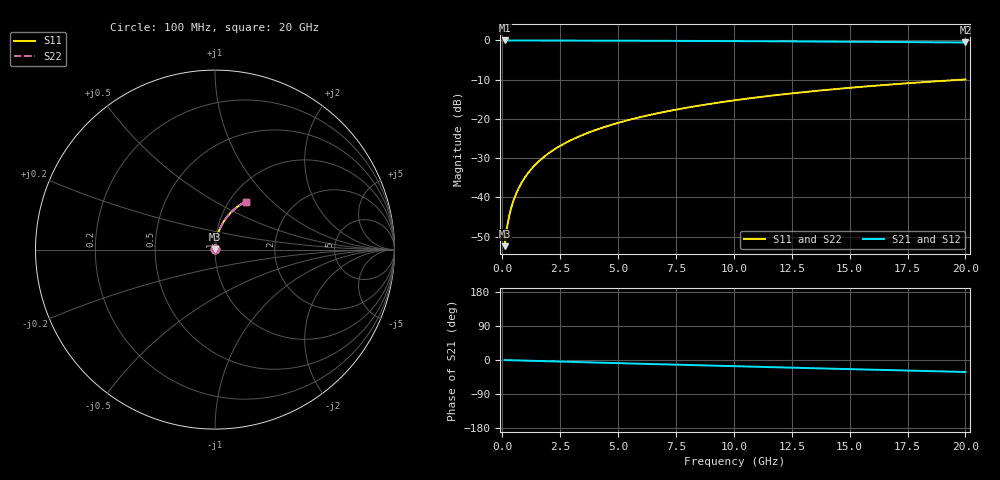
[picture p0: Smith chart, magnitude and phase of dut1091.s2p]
! Touchstone file exported from HFSS 2026.1.0
!  File:  C:/ffzhzh/LocalFiles/Ansys_Project_Files/temp_train_TMRDL_1091_1783161069_22436.aedt
!  Generated:  06:32:29 PM Jul  4, 2026
!  Design:  TMRDL
!  Project:  temp_train_TMRDL_1091_1783161069_22436
! Variables:
!  h_bsmrdl = 2um
!  h_ox = 20um
!  h_rdl = 5um
!  h_sub = 80um
!  h_tmrdl = 5.12um
!  h_tsv = 80um
!  h_via = 3um
!  l_bsmrdl = 300um
!  l_sub = 821.95um
!  l_tmrdl = 421.95um
!  m_sub = 200um
!  pitch = 58.3um
!  r_tsv = 6um
!  s_tmrdl = 10um
!  w_bsmrdl = 18um
!  w_sub = 500um
!  w_tmrdl = 23.65um
!  x_tsv_center1 = 433.775um
!  x_tsv_center2 = 751.775um
!  x_tsv_center3 = 1197.375um
!  x_tsv_center4 = 1515.375um
!  x_tsv_center5 = 1960.975um
!  x_tsv_center6 = 2278.975um
# GHz S MA R 50.000000
! Terminal data exported
! Port[1] = TM_RDL1_1_T1
! Port[2] = TM_RDL1_1_T2
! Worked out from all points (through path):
!   200 points, 100 MHz to 20 GHz, reference 50 ohm
!   highest |S21| = -0.01 dB at 100 MHz (marker M1); lowest = -0.5 dB at 20 GHz (marker M2)
!   group delay of S21, straight-line fit = 4.39 ps
!   lowest |S11| = -52.4 dB at 100 MHz (marker M3), VSWR 1.00, Z = 50.1 + j0.195 ohm
!   |S11| at or under -10 dB: start of sweep to 19.84 GHz
!   |S22| runs from -52.4 to -9.9 dB; largest |S21 - S12| = 3.4e-15
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0.1  0.002395 54.1  0.9986 -0.2  0.9986 -0.2  0.002395 54.1
! Gamma 0 0 0 0
! Port Impedance 50 0 50 0
0.2  0.004091 68.3  0.9985 -0.3  0.9985 -0.3  0.004091 68.3
0.3  0.005844 74.1  0.9984 -0.5  0.9984 -0.5  0.005844 74.1
0.4  0.007616 77.2  0.9984 -0.7  0.9984 -0.7  0.007616 77.2
0.5  0.009401 79.1  0.9983 -0.9  0.9983 -0.9  0.009401 79.1
0.7  0.013 81.3  0.9982 -1.2  0.9982 -1.2  0.013 81.3
0.8  0.0148 82.0  0.9982 -1.4  0.9982 -1.4  0.0148 82.0
1  0.01842 82.8  0.9981 -1.7  0.9981 -1.7  0.01842 82.8
1.2  0.02204 83.2  0.9979 -2.0  0.9979 -2.0  0.02204 83.2
1.4  0.02565 83.4  0.9978 -2.4  0.9978 -2.4  0.02565 83.4
1.7  0.03106 83.4  0.9975 -2.9  0.9975 -2.9  0.03106 83.4
2  0.03645 83.2  0.9972 -3.4  0.9972 -3.4  0.03645 83.2
2.7  0.04894 82.5  0.9963 -4.5  0.9963 -4.5  0.04894 82.5
3.5  0.06304 81.5  0.9951 -5.9  0.9951 -5.9  0.06304 81.5
4.2  0.07525 80.5  0.9939 -7.0  0.9939 -7.0  0.07525 80.5
5  0.08905 79.3  0.9924 -8.3  0.9924 -8.3  0.08905 79.3
6.8  0.1196 76.7  0.9884 -11.2  0.9884 -11.2  0.1196 76.7
8.3  0.1445 74.4  0.9846 -13.6  0.9846 -13.6  0.1445 74.4
10.1  0.1738 71.7  0.9794 -16.5  0.9794 -16.5  0.1738 71.7
13.4  0.2252 66.8  0.9682 -21.7  0.9682 -21.7  0.2252 66.8
16.7  0.2735 61.9  0.9552 -26.7  0.9552 -26.7  0.2735 61.9
20  0.3183 57.2  0.9409 -31.6  0.9409 -31.6  0.3183 57.1
